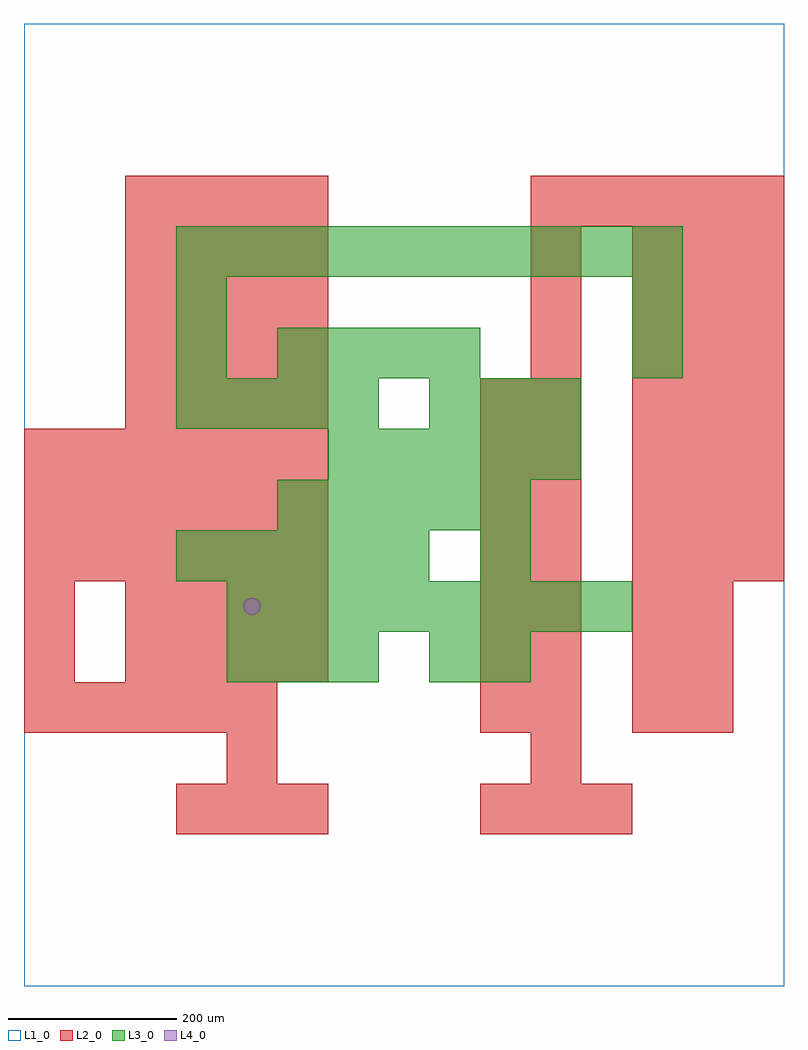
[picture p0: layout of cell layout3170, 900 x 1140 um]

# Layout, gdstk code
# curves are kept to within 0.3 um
import gdstk
lib = gdstk.Library(unit=1e-6, precision=1e-09)
def R(c, l, rs):  # rectangles x0, y0, x1, y1
    for r in rs: c.add(gdstk.rectangle(r[:2], r[2:], *l))
def A(c, l, x, y, w, h, nx, ny, dx, dy):  # array of equal rectangles
    R(c, l, [(x+i*dx, y+j*dy, x+i*dx+w, y+j*dy+h) for i in range(nx) for j in range(ny)])
def P(c, l, *ps):  # polygons
    for p in ps: c.add(gdstk.Polygon(p, *l))
L1_0 = (1, 0)
L2_0 = (2, 0)
L3_0 = (3, 0)
L4_0 = (4, 0)

layout3170 = lib.new_cell('layout3170')
R(layout3170, L1_0, [(0,0,900,1140)])
A(layout3170, L2_0, 180, 180, 60, 60, 3, 1, 60, 0)
A(layout3170, L2_0, 540, 180, 60, 60, 3, 1, 60, 0)
A(layout3170, L2_0, 600, 240, 60, 60, 1, 11, 0, 60)
A(layout3170, L2_0, 0, 300, 60, 60, 5, 1, 60, 0)
A(layout3170, L2_0, 540, 300, 60, 60, 1, 7, 0, 60)
A(layout3170, L2_0, 720, 300, 60, 60, 1, 3, 0, 60)
A(layout3170, L2_0, 780, 300, 60, 60, 1, 3, 0, 60)
A(layout3170, L2_0, 120, 360, 60, 60, 4, 2, 60, 60)
A(layout3170, L2_0, 0, 480, 60, 60, 6, 3, 60, 60)
A(layout3170, L2_0, 720, 480, 60, 60, 3, 7, 60, 60)
A(layout3170, L2_0, 120, 660, 60, 60, 4, 5, 60, 60)
A(layout3170, L2_0, 600, 900, 60, 60, 5, 1, 60, 0)
R(layout3170, L2_0, [(240,240,300,300), (0,360,60,420), (0,420,60,480)])
A(layout3170, L3_0, 240, 360, 60, 60, 3, 1, 60, 0)
A(layout3170, L3_0, 240, 420, 60, 60, 8, 1, 60, 0)
A(layout3170, L3_0, 180, 480, 60, 60, 5, 1, 60, 0)
A(layout3170, L3_0, 300, 540, 60, 60, 5, 1, 60, 0)
A(layout3170, L3_0, 360, 600, 60, 60, 5, 1, 60, 0)
A(layout3170, L3_0, 180, 660, 60, 60, 4, 1, 60, 0)
A(layout3170, L3_0, 480, 660, 60, 60, 3, 1, 60, 0)
A(layout3170, L3_0, 300, 720, 60, 60, 4, 1, 60, 0)
A(layout3170, L3_0, 180, 840, 60, 60, 10, 1, 60, 0)
R(layout3170, L3_0, [(480,360,540,420), (540,360,600,420), (540,480,600,540), (180,720,240,780), (720,720,780,780), (180,780,240,840), (720,780,780,840)])
P(layout3170, L4_0, [(280,450),(279.239,453.827),(277.071,457.071),(273.827,459.239),(270,460),(266.173,459.239),(262.929,457.071),(260.761,453.827),(260,450),(260.761,446.173),(262.929,442.929),(266.173,440.761),(270,440),(273.827,440.761),(277.071,442.929),(279.239,446.173)])

lib.write_gds('layout3170.gds')
